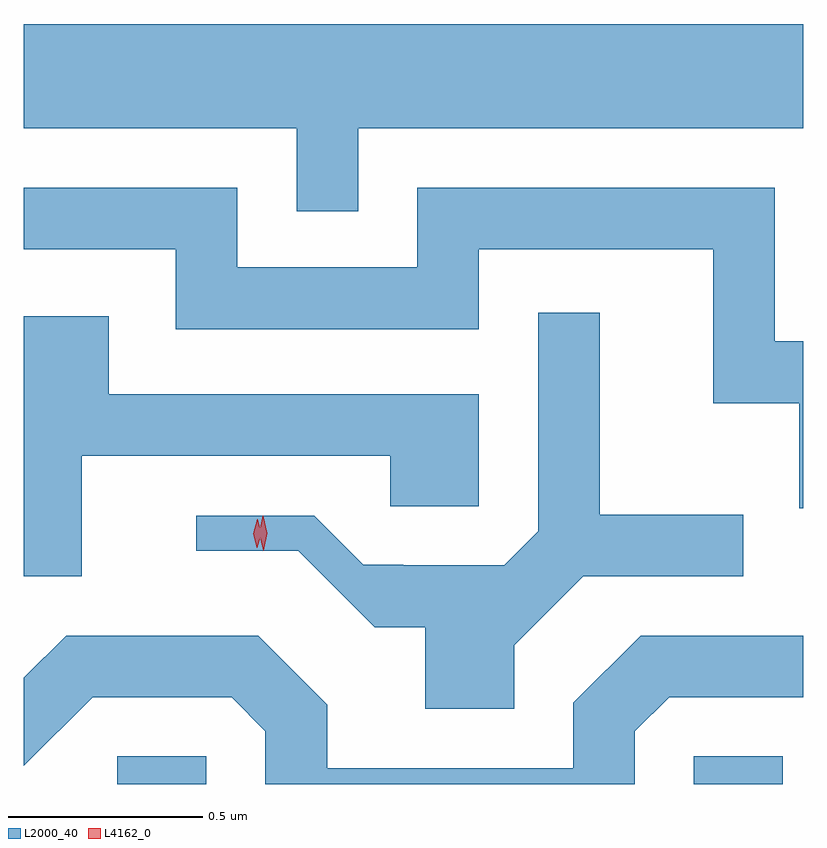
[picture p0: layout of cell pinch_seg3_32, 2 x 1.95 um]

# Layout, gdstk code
import gdstk
lib = gdstk.Library(unit=1e-6, precision=1e-09)
def R(c, l, rs):  # rectangles x0, y0, x1, y1
    for r in rs: c.add(gdstk.rectangle(r[:2], r[2:], *l))
def P(c, l, *ps):  # polygons
    for p in ps: c.add(gdstk.Polygon(p, *l))
L2000_40 = (2000, 40)
L4162_0 = (4162, 0)

pinch_seg3_32 = lib.new_cell('pinch_seg3_32')
R(pinch_seg3_32, L2000_40, [(1883.771,1164.293,1883.999,1164.364), (1885.251,1164.293,1885.479,1164.364)])
P(pinch_seg3_32, L2000_40, [(1884.389,1165.976),(1885.531,1165.976),(1885.531,1166.244),(1883.531,1166.244),(1883.531,1165.976),(1884.231,1165.976),(1884.231,1165.763),(1884.389,1165.763)],
  [(1885.531,1165.429),(1885.459,1165.429),(1885.459,1165.824),(1884.541,1165.824),(1884.541,1165.619),(1884.079,1165.619),(1884.079,1165.824),(1883.531,1165.824),(1883.531,1165.666),(1883.921,1165.666),(1883.921,1165.461),(1884.699,1165.461),(1884.699,1165.666),(1885.301,1165.666),(1885.301,1165.271),(1885.521,1165.271),(1885.521,1165.001),(1885.531,1165.001)],
  [(1884.789,1164.649),(1884.967,1164.826),(1885.378,1164.826),(1885.378,1164.984),(1885.009,1164.984),(1885.009,1165.503),(1884.851,1165.503),(1884.851,1164.942),(1884.764,1164.854),(1884.505,1164.854),(1884.505,1164.856),(1884.402,1164.856),(1884.276,1164.982),(1883.973,1164.982),(1883.973,1164.892),(1884.235,1164.892),(1884.431,1164.696),(1884.561,1164.696),(1884.561,1164.486),(1884.789,1164.486)],
  [(1883.679,1165.136),(1884.471,1165.136),(1884.471,1165.006),(1884.699,1165.006),(1884.699,1165.294),(1883.749,1165.294),(1883.749,1165.494),(1883.531,1165.494),(1883.531,1164.826),(1883.679,1164.826)],
  [(1885.099,1164.429),(1885.187,1164.516),(1885.531,1164.516),(1885.531,1164.674),(1885.114,1164.674),(1884.941,1164.502),(1884.941,1164.334),(1884.309,1164.334),(1884.309,1164.497),(1884.132,1164.674),(1883.639,1164.674),(1883.531,1164.566),(1883.531,1164.34),(1883.707,1164.516),(1884.064,1164.516),(1884.151,1164.429),(1884.151,1164.293),(1885.099,1164.293)])
P(pinch_seg3_32, L4162_0, [(1884.146,1164.892),(1884.145,1164.893),(1884.135,1164.937),(1884.144,1164.981),(1884.145,1164.982),(1884.145,1164.981),(1884.155,1164.937),(1884.146,1164.893)],
  [(1884.129,1164.899),(1884.12,1164.936),(1884.13,1164.972),(1884.13,1164.972),(1884.131,1164.972),(1884.14,1164.935),(1884.13,1164.899),(1884.13,1164.899)])

lib.write_gds('pinch_seg3_32.gds')
